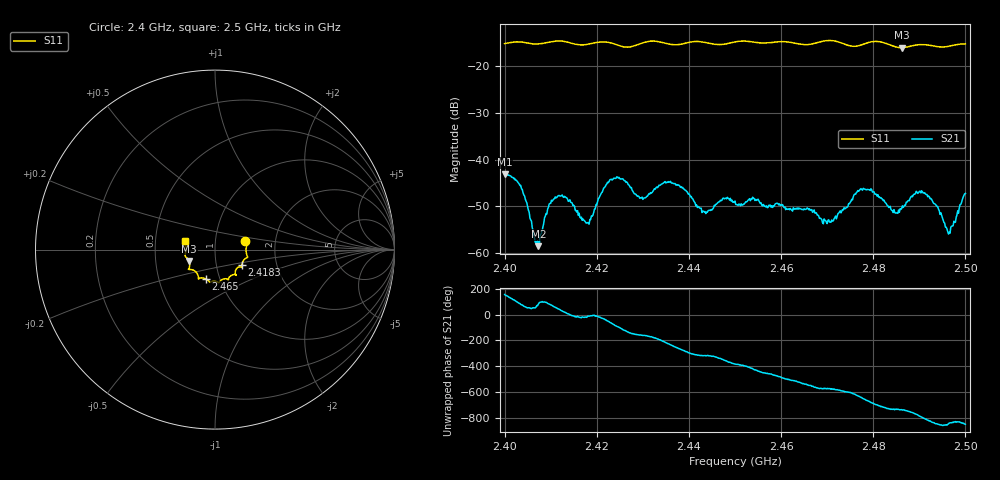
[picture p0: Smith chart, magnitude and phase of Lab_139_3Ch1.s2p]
# Hz S RI R 50
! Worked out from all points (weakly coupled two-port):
!   601 points, 2.4 GHz to 2.5 GHz, reference 50 ohm
!   highest |S21| = -43.15 dB at 2.4 GHz (marker M1); lowest = -58.5 dB at 2.4073 GHz (marker M2)
!   lowest |S11| = -16.0 dB at 2.4862 GHz (marker M3), VSWR 1.37, Z = 37.1 - j4.79 ohm
!   |S11| at or under -10 dB: start of sweep to end of sweep
!   S12 and S22 are empty: the file has one direction only
!   S11 on the Smith chart (normalised r, x): 2.4 GHz: 1.40, +0.13; 2.4183 GHz: 1.33, -0.24; 2.465 GHz: 0.86, -0.29; 2.5 GHz: 0.71, +0.07
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2.4e9  0.1686 0.0457  -0.0064 0.00273  0 0  0 0
2.4035e9  0.1792 0.0302  0.000934 0.00521  0 0  0 0
2.407333e9  0.1729 -0.00745  0.000137 0.00118  0 0  0 0
2.409667e9  0.1781 -0.0325  0.000406 0.00332  0 0  0 0
2.411333e9  0.1819 -0.0403  0.00244 0.0031  0 0  0 0
2.416667e9  0.1547 -0.0685  0.00223 -0.000952  0 0  0 0
2.418333e9  0.1498 -0.0868  0.002 -0.000383  0 0  0 0
2.423333e9  0.1471 -0.0971  0.00217 -0.00564  0 0  0 0
2.429833e9  0.1134 -0.1355  -0.00371 -0.00141  0 0  0 0
2.433333e9  0.1169 -0.1414  -0.00504 0.000782  0 0  0 0
2.438167e9  0.0812 -0.1512  -0.000197 0.00504  0 0  0 0
2.443333e9  0.0708 -0.1659  0.00202 0.00187  0 0  0 0
2.45e9  0.025 -0.1805  0.00333 -0.00138  0 0  0 0
2.465e9  -0.0529 -0.1621  -0.00297 -0.000156  0 0  0 0
2.466667e9  -0.0714 -0.1575  -0.00279 0.000822  0 0  0 0
2.471e9  -0.0923 -0.1641  -0.00186 0.00128  0 0  0 0
2.477667e9  -0.1292 -0.1118  0.00154 0.00444  0 0  0 0
2.483333e9  -0.1421 -0.0959  0.00304 -0.000507  0 0  0 0
2.486167e9  -0.1448 -0.063  0.00286 -0.000878  0 0  0 0
2.491e9  -0.1673 -0.033  0.000388 -0.00437  0 0  0 0
2.4965e9  -0.1624 0.0224  -0.000876 -0.00142  0 0  0 0
2.5e9  -0.1668 0.0474  -0.00288 -0.00325  0 0  0 0
